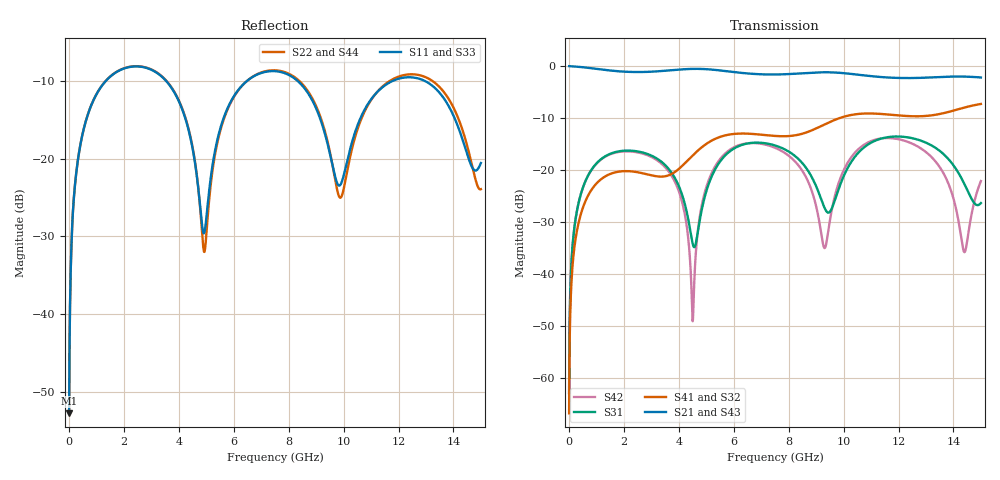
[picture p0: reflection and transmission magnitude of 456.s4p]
! Created with skrf 1.8.0 (http://scikit-rf.org).
# GHz S RI R 50.0
!freq ReS11 ImS11 ReS12 ImS12 ReS13 ImS13
! ReS14 ImS14
! ReS21 ImS21 ReS22 ImS22 ReS23 ImS23
! ReS24 ImS24
! ReS31 ImS31 ReS32 ImS32 ReS33 ImS33
! ReS34 ImS34
! ReS41 ImS41 ReS42 ImS42 ReS43 ImS43
! ReS44 ImS44
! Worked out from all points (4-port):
!   2499 points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, 5 MHz to 15 GHz, reference 50 ohm
!   strongest paths, dB at 5 MHz, 3.476 GHz, 7.19 GHz, 11.1 GHz, 15 GHz:
!     S21: 0.0, -0.9, -1.6, -2.0, -2.2
!     S43: 0.0, -0.9, -1.6, -2.0, -2.2
!     S41: -66.9, -21.2, -13.3, -9.1, -7.3
!     S32: -66.9, -21.3, -13.3, -9.2, -7.3
!     S31: -63.0, -18.9, -14.9, -14.5, -26.4
!     S42: -63.0, -19.3, -15.2, -14.2, -22.1
!   lowest |S11| = -52.8 dB at 5 MHz (marker M1), VSWR 1.00, Z = 50.2 + j0.139 ohm
!   |S11| at or under -10 dB: 3.546 GHz to 6.471 GHz (2.924 GHz wide, 58.4 % of centre); 8.338 GHz to 11.76 GHz (3.426 GHz wide, 34.1 % of centre); 12.98 GHz to end of sweep (the widest 3 of 4)
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0.005  0.00182 0.00139  0.9981 -0.00355  9.16e-05 0.000706  -8.9e-05 -0.000446
       0.9981 -0.00355  0.00182 0.00139  -8.9e-05 -0.000446  9.15e-05 0.000706
       9.16e-05 0.000706  -8.9e-05 -0.000446  0.00182 0.00139  0.9981 -0.00355
       -8.9e-05 -0.000446  9.15e-05 0.000706  0.9981 -0.00355  0.00182 0.00139
0.3126303  0.0287 0.0904  0.9606 -0.2198  0.0133 0.0413  -0.0109 -0.0257
           0.9606 -0.2198  0.0288 0.0904  -0.0109 -0.0257  0.0129 0.0414
           0.0133 0.0413  -0.0109 -0.0257  0.0287 0.0904  0.9607 -0.2198
           -0.0109 -0.0257  0.0129 0.0414  0.9607 -0.2198  0.0288 0.0904
1.569404  0.3064 0.1616  0.4647 -0.7739  0.1386 0.0439  -0.0926 0.00759
          0.4647 -0.7739  0.3081 0.1602  -0.0925 0.00745  0.1345 0.0508
          0.1386 0.0439  -0.0925 0.00745  0.3064 0.1615  0.4648 -0.7739
          -0.0926 0.00759  0.1345 0.0508  0.4648 -0.7739  0.3079 0.1602
4.501876  0.0592 -0.1001  -0.8829 -0.3218  -0.0172 -0.00947  -0.042 0.1312
          -0.8829 -0.3218  0.0526 -0.1062  -0.0435 0.1307  0.00355 -0.000125
          -0.0172 -0.00947  -0.0435 0.1307  0.0582 -0.0993  -0.8831 -0.3217
          -0.042 0.1312  0.00355 -0.000125  -0.8831 -0.3217  0.0528 -0.1049
5.752397  0.142 0.1514  -0.7889 0.4163  0.1073 0.0949  0.1321 0.1723
          -0.7889 0.4163  0.1347 0.153  0.1301 0.1735  0.1163 0.0933
          0.1073 0.0949  0.1301 0.1735  0.1422 0.1531  -0.7887 0.4162
          0.1321 0.1723  0.1163 0.0933  -0.7887 0.4162  0.1356 0.1535
9.941642  0.0696 0.017  0.8541 0.0811  0.00119 0.0797  0.0166 -0.3211
          0.8541 0.0811  0.0574 0.00939  0.0231 -0.3204  0.02 0.089
          0.00119 0.0797  0.0231 -0.3204  0.0707 0.0195  0.854 0.0825
          0.0166 -0.3211  0.02 0.089  0.854 0.0825  0.056 0.0103
15  0.0876 0.034  -0.7713 -0.0925  -0.0163 0.0452  -0.0339 0.4304
    -0.7713 -0.0925  0.0637 0.00156  -0.0489 0.4293  0.0387 0.0679
    -0.0163 0.0452  -0.0489 0.4293  0.0852 0.03  -0.7705 -0.1004
    -0.0339 0.4304  0.0387 0.0679  -0.7705 -0.1004  0.0664 -0.00395
